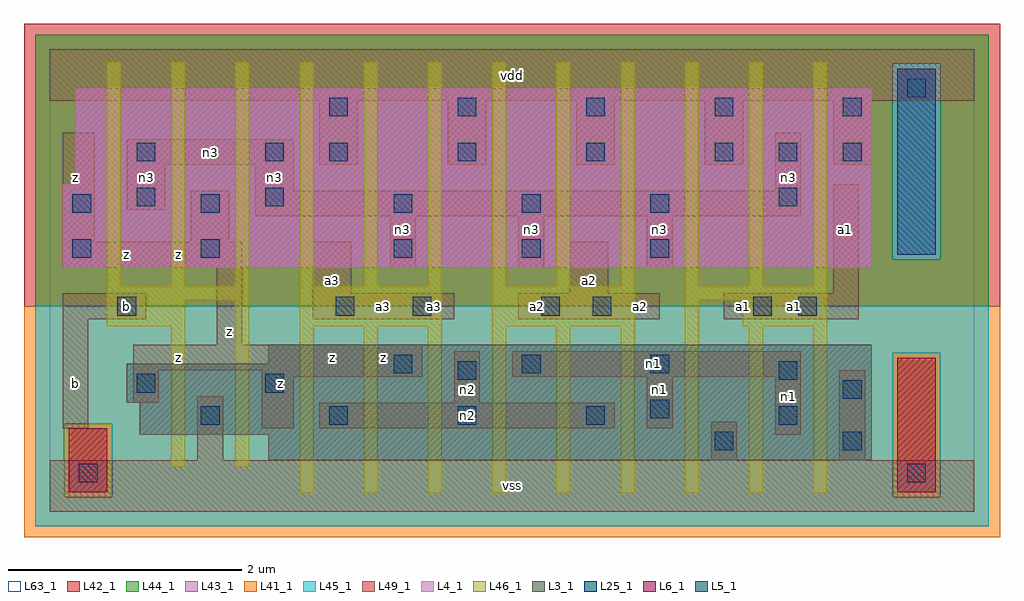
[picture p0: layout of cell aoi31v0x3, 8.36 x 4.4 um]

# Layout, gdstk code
import gdstk
lib = gdstk.Library(unit=1e-6, precision=1e-09)
def R(c, l, rs):  # rectangles x0, y0, x1, y1
    for r in rs: c.add(gdstk.rectangle(r[:2], r[2:], *l))
def A(c, l, x, y, w, h, nx, ny, dx, dy):  # array of equal rectangles
    R(c, l, [(x+i*dx, y+j*dy, x+i*dx+w, y+j*dy+h) for i in range(nx) for j in range(ny)])
L3_1 = (3, 1)
L4_1 = (4, 1)
L5_1 = (5, 1)
L6_1 = (6, 1)
L25_1 = (25, 1)
L41_1 = (41, 1)
L42_1 = (42, 1)
L43_1 = (43, 1)
L44_1 = (44, 1)
L45_1 = (45, 1)
L46_1 = (46, 1)
L49_1 = (49, 1)
L63_1 = (63, 1)

aoi31v0x3 = lib.new_cell('aoi31v0x3')
R(aoi31v0x3, L3_1, [(1.87,0.44,7.04,0.66), (0.77,0.66,7.04,0.935), (0.66,0.935,7.04,1.265), (1.87,1.265,7.04,1.43)])
R(aoi31v0x3, L4_1, [(0.11,2.09,7.04,2.805), (0.22,2.805,7.04,3.63)])
R(aoi31v0x3, L5_1, [(7.26,2.2,7.59,3.795)])
R(aoi31v0x3, L6_1, [(0.165,0.165,0.495,0.715), (7.26,0.165,7.59,1.32)])
A(aoi31v0x3, L25_1, 1.295, 0.745, 0.16, 0.16, 4, 1, 1.1, 0)
A(aoi31v0x3, L25_1, 2.945, 1.185, 0.16, 0.16, 3, 2, 1.1, 0.99)
A(aoi31v0x3, L25_1, 2.945, 2.56, 0.16, 0.16, 3, 1, 1.1, 0)
A(aoi31v0x3, L25_1, 2.395, 3, 0.16, 0.16, 4, 1, 1.1, 0)
A(aoi31v0x3, L25_1, 2.395, 3.385, 0.16, 0.16, 5, 1, 1.1, 0)
R(aoi31v0x3, L25_1, [(0.25,0.25,0.41,0.41), (7.345,0.25,7.505,0.41), (5.695,0.525,5.855,0.685), (6.795,0.525,6.955,0.685), (6.245,0.745,6.405,0.905), (5.145,0.8,5.305,0.96), (6.795,0.965,6.955,1.125), (0.745,1.02,0.905,1.18), (1.845,1.02,2.005,1.18), (3.495,1.13,3.655,1.29), (6.245,1.13,6.405,1.29), (0.58,1.68,0.74,1.84), (2.45,1.68,2.61,1.84), (3.11,1.68,3.27,1.84), (4.21,1.68,4.37,1.84), (4.65,1.68,4.81,1.84), (6.025,1.68,6.185,1.84), (6.41,1.68,6.57,1.84), (0.195,2.175,0.355,2.335), (1.295,2.175,1.455,2.335), (0.195,2.56,0.355,2.72), (1.295,2.56,1.455,2.72), (0.745,2.615,0.905,2.775), (1.845,2.615,2.005,2.775), (6.245,2.615,6.405,2.775), (0.745,3,0.905,3.16), (1.845,3,2.005,3.16), (6.245,3,6.405,3.16), (6.795,3,6.955,3.16), (7.345,3.55,7.505,3.71)])
R(aoi31v0x3, L41_1, [(-0.22,-0.22,8.14,1.76)])
R(aoi31v0x3, L42_1, [(-0.22,1.76,8.14,4.18)])
R(aoi31v0x3, L43_1, [(0.165,0.165,0.495,0.715), (7.26,0.165,7.59,1.32), (1.87,0.44,7.04,0.66), (0.77,0.66,7.04,0.935), (0.66,0.935,7.04,1.265), (1.87,1.265,7.04,1.43), (0.11,2.09,7.04,2.805), (7.26,2.2,7.59,3.795), (0.22,2.805,7.04,3.63)])
R(aoi31v0x3, L44_1, [(0.125,0.125,0.535,0.755), (7.22,0.125,7.63,1.36), (-0.125,1.76,8.045,2.16), (-0.125,2.16,7.22,3.835), (7.63,2.16,8.045,3.835), (-0.125,3.835,8.045,4.085)])
R(aoi31v0x3, L45_1, [(-0.125,-0.125,8.045,0.125), (-0.125,0.125,0.125,0.755), (0.535,0.125,7.22,0.755), (7.63,0.125,8.045,1.36), (-0.125,0.755,7.22,1.36), (-0.125,1.36,8.045,1.76), (7.22,2.16,7.63,3.835)])
A(aoi31v0x3, L46_1, 2.14, 0.16, 0.12, 1.43, 6, 1, 0.55, 0)
A(aoi31v0x3, L46_1, 0.49, 1.93, 0.12, 1.925, 12, 1, 0.55, 0)
R(aoi31v0x3, L46_1, [(5.44,0.16,5.56,1.81), (5.99,0.16,6.11,1.59), (6.54,0.16,6.66,1.59), (1.04,0.38,1.16,1.59), (1.59,0.38,1.71,1.81), (0.49,1.59,1.16,1.81), (2.14,1.59,3.36,1.93), (3.79,1.59,5.01,1.93), (5.935,1.59,6.66,1.81), (0.49,1.81,1.71,1.93), (5.44,1.81,6.66,1.93)])
A(aoi31v0x3, L49_1, 2.915, 2.09, 0.22, 0.44, 3, 1, 1.1, 0)
A(aoi31v0x3, L49_1, 2.31, 2.97, 0.33, 0.55, 5, 1, 1.1, 0)
R(aoi31v0x3, L49_1, [(0,0,7.92,0.44), (1.265,0.44,1.485,0.99), (5.665,0.44,5.885,0.77), (6.765,0.44,6.985,1.21), (6.215,0.66,6.435,1.155), (0.11,0.715,0.33,1.65), (1.815,0.715,2.09,1.155), (2.31,0.715,4.84,0.935), (5.115,0.715,5.335,1.155), (0.715,0.935,0.935,1.21), (3.465,0.935,3.685,1.375), (1.815,1.155,3.19,1.21), (3.96,1.155,6.435,1.375), (0.715,1.21,3.19,1.43), (1.43,1.43,1.65,2.09), (0.11,1.65,0.825,1.87), (2.255,1.65,3.465,1.87), (4.015,1.65,5.225,1.87), (5.775,1.65,6.93,1.87), (2.255,1.87,2.585,2.31), (4.455,1.87,4.785,2.31), (6.71,1.87,6.93,2.805), (0.11,2.09,1.65,2.31), (0.11,2.31,0.385,3.245), (1.21,2.31,1.54,2.75), (1.76,2.53,6.435,2.75), (0.66,2.585,0.99,2.97), (1.76,2.75,2.09,2.97), (6.215,2.75,6.435,3.245), (0.66,2.97,2.09,3.19), (0,3.52,7.92,3.96)])
R(aoi31v0x3, L63_1, [(0,0,7.92,3.96)])
aoi31v0x3.add(gdstk.Label('z', (1.1,1.32), layer=49, texttype=1))
aoi31v0x3.add(gdstk.Label('b', (0.22,1.1), layer=49, texttype=1))
aoi31v0x3.add(gdstk.Label('b', (0.66,1.76), layer=49, texttype=1))
aoi31v0x3.add(gdstk.Label('z', (0.66,2.2), layer=49, texttype=1))
aoi31v0x3.add(gdstk.Label('z', (1.1,2.2), layer=49, texttype=1))
aoi31v0x3.add(gdstk.Label('z', (0.22,2.86), layer=49, texttype=1))
aoi31v0x3.add(gdstk.Label('n3', (0.825,2.86), layer=49, texttype=1))
aoi31v0x3.add(gdstk.Label('z', (2.42,1.32), layer=49, texttype=1))
aoi31v0x3.add(gdstk.Label('z', (2.86,1.32), layer=49, texttype=1))
aoi31v0x3.add(gdstk.Label('z', (1.98,1.1), layer=49, texttype=1))
aoi31v0x3.add(gdstk.Label('a3', (2.86,1.76), layer=49, texttype=1))
aoi31v0x3.add(gdstk.Label('z', (1.54,1.54), layer=49, texttype=1))
aoi31v0x3.add(gdstk.Label('a3', (2.42,1.98), layer=49, texttype=1))
aoi31v0x3.add(gdstk.Label('n3', (1.925,2.86), layer=49, texttype=1))
aoi31v0x3.add(gdstk.Label('n3', (1.375,3.08), layer=49, texttype=1))
aoi31v0x3.add(gdstk.Label('vss', (3.96,0.22), layer=49, texttype=1))
aoi31v0x3.add(gdstk.Label('n2', (3.575,1.045), layer=49, texttype=1))
aoi31v0x3.add(gdstk.Label('a2', (4.18,1.76), layer=49, texttype=1))
aoi31v0x3.add(gdstk.Label('a3', (3.3,1.76), layer=49, texttype=1))
aoi31v0x3.add(gdstk.Label('a2', (4.62,1.98), layer=49, texttype=1))
aoi31v0x3.add(gdstk.Label('n3', (4.125,2.42), layer=49, texttype=1))
aoi31v0x3.add(gdstk.Label('n3', (3.025,2.42), layer=49, texttype=1))
aoi31v0x3.add(gdstk.Label('vdd', (3.96,3.74), layer=49, texttype=1))
aoi31v0x3.add(gdstk.Label('n1', (5.225,1.045), layer=49, texttype=1))
aoi31v0x3.add(gdstk.Label('n2', (3.575,0.825), layer=49, texttype=1))
aoi31v0x3.add(gdstk.Label('a1', (5.94,1.76), layer=49, texttype=1))
aoi31v0x3.add(gdstk.Label('a2', (5.06,1.76), layer=49, texttype=1))
aoi31v0x3.add(gdstk.Label('n3', (5.225,2.42), layer=49, texttype=1))
aoi31v0x3.add(gdstk.Label('n1', (6.325,0.99), layer=49, texttype=1))
aoi31v0x3.add(gdstk.Label('n1', (5.17,1.265), layer=49, texttype=1))
aoi31v0x3.add(gdstk.Label('a1', (6.38,1.76), layer=49, texttype=1))
aoi31v0x3.add(gdstk.Label('a1', (6.82,2.42), layer=49, texttype=1))
aoi31v0x3.add(gdstk.Label('n3', (6.325,2.86), layer=49, texttype=1))

lib.write_gds('aoi31v0x3.gds')
